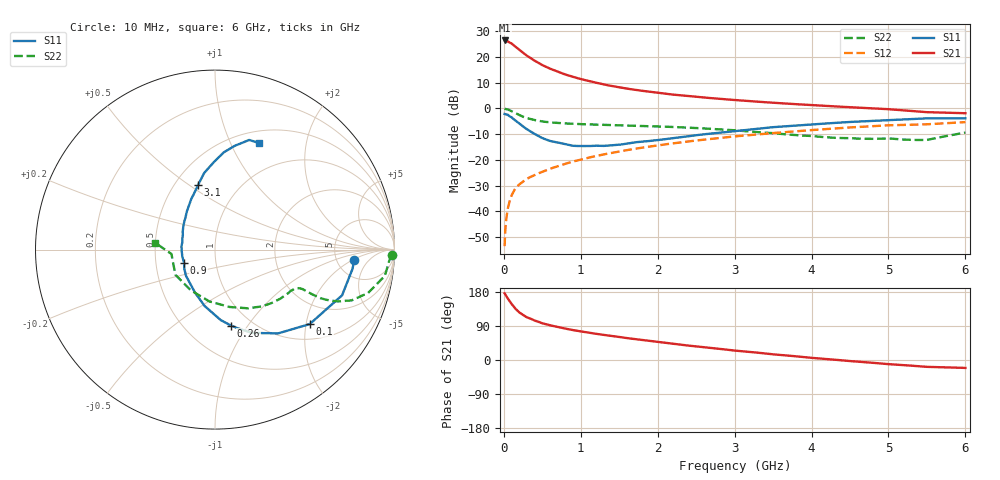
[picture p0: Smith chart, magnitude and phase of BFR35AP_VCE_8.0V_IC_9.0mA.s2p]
! Infineon Technologies  Discrete & RF Semiconductors
! BFR35AP
! VCE =  8.0 V,  IC =  9.0 mA
! Common Emitter S-Parameters:  Nov 2015
# GHz  S  MA  R  50
!  f  S11  S21  S12  S22
! GHz  MAG  ANG  MAG  ANG  MAG  ANG  MAG  ANG
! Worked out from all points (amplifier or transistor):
!   210 points, 10 MHz to 6 GHz, reference 50 ohm
!   highest |S21| = 26.4 dB at 10 MHz (marker M1)
!   |S21| within 3 dB of that: start of sweep to 175.3 MHz
!   unconditionally stable (mu >= 1): 671.2 MHz to 2.898 GHz
!   at 185 MHz: K = 0.50, MSG = 26.6 dB, |S12| = -30.0 dB
!   at 1.52 GHz: K = 1.09, MAG = 10.5 dB, |S12| = -16.6 dB
!   at 6 GHz: K = 0.89, MSG = 1.7 dB, |S12| = -5.3 dB
!   S11 on the Smith chart (normalised r, x): 10 MHz: 7.41, -2.09; 100 MHz: 1.39, -2.10; 260 MHz: 0.81, -0.84; 900 MHz: 0.70, -0.11; 3.1 GHz: 0.65, +0.55; 6 GHz: 0.64, +1.29
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0.01  0.778 -4.1  20.88 175.9  0.0021 91.3  0.9881 -1.7
0.025  0.7679 -9.9  20.38 170.8  0.0056 86.0  0.9698 -4.5
0.05  0.7525 -19.8  20.05 162.7  0.011 81.6  0.9576 -8.8
0.1  0.6711 -38.2  18.27 147.8  0.0202 72.3  0.8866 -15.8
0.15  0.5841 -53.1  15.83 135.2  0.0278 67.6  0.812 -20.4
0.2  0.5069 -66.2  13.86 125.6  0.0332 64.1  0.7429 -22.9
0.24  0.4545 -74.2  12.39 119.9  0.0369 62.9  0.6977 -23.9
0.26  0.4324 -78.1  11.74 117.2  0.0388 62.6  0.6787 -24.3
0.3  0.3938 -85.4  10.55 112.6  0.0428 62.6  0.6474 -24.7
0.4  0.3192 -100.5  8.446 104.1  0.0507 62.5  0.5917 -24.7
0.5  0.2653 -114.6  6.932 96.8  0.0584 63.3  0.5555 -24.4
0.6  0.233 -126.6  5.918 91.5  0.0668 64.0  0.5344 -24.3
0.7  0.2181 -137.7  5.154 86.9  0.0752 64.8  0.5207 -24.5
0.9  0.1873 -157.1  4.081 78.8  0.0928 64.8  0.5012 -25.4
1.02  0.1858 -169.8  3.653 74.8  0.1028 65.1  0.493 -26.3
1.4  0.1924 160.9  2.723 63.4  0.1361 63.7  0.4755 -30.5
1.68  0.2162 145.2  2.322 55.7  0.1616 62.0  0.462 -34.4
2.02  0.2439 132.2  1.992 47.3  0.1926 59.5  0.4448 -39.8
3.1  0.3739 104.5  1.417 23.1  0.294 49.0  0.3648 -63.2
4.1  0.4988 89.4  1.136 4.1  0.3874 37.5  0.2813 -100.6
5.1  0.599 77.7  0.939 -12.2  0.4725 23.7  0.2538 -152.5
6  0.6428 67.5  0.805 -20.9  0.5406 13.2  0.3383 173.3
